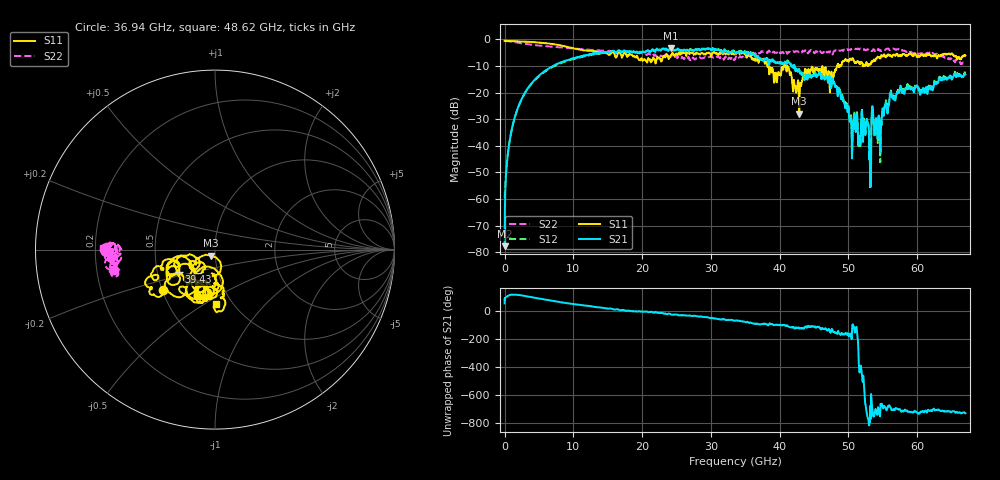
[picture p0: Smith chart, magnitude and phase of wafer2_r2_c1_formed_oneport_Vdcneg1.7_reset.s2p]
!Keysight Technologies,N5227A,US51270248,A.10.65.08
!Date: Tuesday, June 11, 2024 08:10:57
!Correction: S11(Full 2 Port(1,4))
!S41(Full 2 Port(1,4))
!S14(Full 2 Port(1,4))
!S44(Full 2 Port(1,4))
!S2P File: Measurements: S11, S41, S14, S44:
# Hz S  dB  R 50
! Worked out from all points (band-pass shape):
!   3201 points, 10 MHz to 67 GHz, reference 50 ohm
!   highest |S21| = -3.27 dB at 24.19 GHz (marker M1); lowest = -77.8 dB at 10 MHz (marker M2)
!   |S21| within 3 dB of the highest: 11.27 GHz to 36.39 GHz (25.12 GHz wide, 105 % of centre); 36.43798 GHz to 36.55779 GHz (119.8 MHz wide, 0.328 % of centre)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
!   lowest |S11| = -27.9 dB at 42.84 GHz (marker M3), VSWR 1.08, Z = 47.7 - j3.22 ohm
!   |S11| at or under -10 dB: 38.35 GHz to 40.59 GHz (2.239 GHz wide, 5.67 % of centre); 40.83 GHz to 41.12 GHz (282.3 MHz wide, 0.689 % of centre); 41.16 GHz to 48.34 GHz (7.181 GHz wide, 16 % of centre)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
!   |S22| runs from -9.3 to -0.4 dB; largest |S21 - S12| = 0.054
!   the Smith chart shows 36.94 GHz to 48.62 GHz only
!   S11 on the Smith chart (normalised r, x): 36.94 GHz: 0.51, -0.26; 39.43 GHz: 0.65, -0.17; 48.62 GHz: 0.84, -0.56
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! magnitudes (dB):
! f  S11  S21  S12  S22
! 10 MHz  -0.5  -77.8  -59.5  -0.4
! 386.8 MHz  -0.6  -45.3  -44.9  -0.5
! 721.8 MHz  -0.6  -38.5  -38.5  -0.6
! 2.522 GHz  -0.8  -22.2  -22.4  -1.5
! 5.809 GHz  -1.3  -12.0  -12.3  -2.5
! 11.19 GHz  -4.0  -6.3  -6.6  -3.6
! 22.35 GHz  -6.9  -3.9  -3.9  -6.0
! 24.19 GHz  -5.9  -3.3  -3.3  -6.4
! 33.51 GHz  -5.6  -5.1  -5.0  -7.4
! 36.94 GHz  -8.7  -6.9  -7.0  -4.8
! 39.43 GHz  -12.5  -8.9  -8.8  -4.9
! 40.96 GHz  -11.1  -9.1  -9.0  -4.7
! 42.84 GHz  -27.9  -11.5  -11.3  -4.6
! 44.68 GHz  -10.3  -13.9  -13.5  -4.5
! 47.55 GHz  -12.7  -17.4  -17.0  -4.8
! 48.62 GHz  -10.4  -18.5  -18.1  -4.1
! 50.4 GHz  -7.6  -30.6  -29.3  -3.6
! 52.56 GHz  -8.9  -32.0  -31.5  -4.0
! 52.99 GHz  -9.2  -38.9  -37.3  -4.1
! 53.66 GHz  -7.8  -30.9  -31.6  -3.7
! 55.84 GHz  -5.7  -25.0  -24.5  -3.6
! 67 GHz  -6.0  -13.1  -12.7  -8.7
